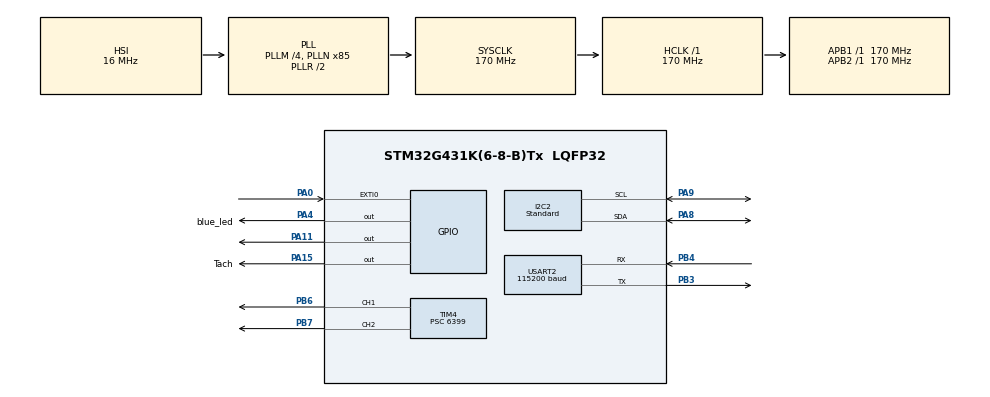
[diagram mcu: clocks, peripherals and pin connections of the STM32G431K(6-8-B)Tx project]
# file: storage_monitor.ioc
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ADC1.Channel-0\#ChannelRegularConversion=ADC_CHANNEL_TEMPSENSOR_ADC1
ADC1.Channel-IN=ADC_CHANNEL_VREFINT
ADC1.ClockPrescaler=ADC_CLOCK_SYNC_PCLK_DIV4
ADC1.ContinuousConvMode=DISABLE
ADC1.DMAContinuousRequests=DISABLE
ADC1.DataAlign=ADC_DATAALIGN_RIGHT
ADC1.DiscontinuousConvMode=DISABLE
ADC1.EOCSelection=ADC_EOC_SINGLE_CONV
ADC1.EnableAnalogWatchDog1=false
ADC1.EnableAnalogWatchDog2=false
ADC1.EnableAnalogWatchDog3=false
ADC1.EnableInjectedConversion=DISABLE
ADC1.EnableRegularConversion=ENABLE
ADC1.ExternalTrigConv=ADC_SOFTWARE_START
ADC1.ExternalTrigConvEdge=ADC_EXTERNALTRIGCONVEDGE_NONE
ADC1.GainCompensation=0
ADC1.LowPowerAutoWait=DISABLE
ADC1.Mode=ADC_MODE_INDEPENDENT
ADC1.NbrOfConversion=1
ADC1.OffsetNumber-0\#ChannelRegularConversion=ADC_OFFSET_NONE
ADC1.Overrun=ADC_OVR_DATA_PRESERVED
ADC1.OversamplingMode=DISABLE
ADC1.Rank-0\#ChannelRegularConversion=1
ADC1.Resolution=ADC_RESOLUTION_12B
ADC1.SamplingTime-0\#ChannelRegularConversion=ADC_SAMPLETIME_2CYCLES_5
ADC1.ScanConvMode=ADC_SCAN_DISABLE
ADC1.master=1
I2C2.AddressingMode=I2C_ADDRESSINGMODE_7BIT
I2C2.Analog_Filter=I2C_ANALOGFILTER_ENABLE
I2C2.CustomTiming=Disabled
I2C2.DualAddressMode=I2C_DUALADDRESS_DISABLE
I2C2.GeneralCallMode=I2C_GENERALCALL_DISABLE
I2C2.I2C_Coeff_DF=0
I2C2.I2C_Fall_Time=100
I2C2.I2C_Rise_Time=100
I2C2.I2C_Speed_Mode=I2C_Standard
I2C2.NoStretchMode=I2C_NOSTRETCH_DISABLE
I2C2.OwnAddress=0
I2C2.Speed=100
I2C2.Timing=0x40B285C2
Mcu.Family=STM32G4
Mcu.Name=STM32G431K(6-8-B)Tx
Mcu.Package=LQFP32
NUCLEO-G431KB.LD2=true
NUCLEO-G431KB.VCP=true
NVIC.EXTI0_IRQn=true\:0\:0\:false\:true\:true\:1\:true\:true\:true
NVIC.PriorityGroup=NVIC_PRIORITYGROUP_4
NVIC.TIM2_IRQn=true\:15\:0\:false\:false\:true\:false\:true\:true
NVIC.TIM4_IRQn=true\:0\:0\:false\:false\:true\:true\:true\:true
NVIC.TimeBase=TIM2_IRQn
NVIC.TimeBaseIP=TIM2
PA0.GPIO_ModeDefaultEXTI=GPIO_MODE_IT_FALLING
PA0.Signal=GPXTI0
PA11.PinState=GPIO_PIN_SET
PA11.Signal=GPIO_Output
PA13.Mode=Serial_Wire
PA13.Signal=SYS_JTMS-SWDIO
PA14.Mode=Serial_Wire
PA14.Signal=SYS_JTCK-SWCLK
PA15.GPIO_Label=Tach
PA15.Signal=GPIO_Output
PA2.Signal=LPUART1_TX
PA3.Signal=LPUART1_RX
PA4.GPIO_Label=blue_led
PA4.Signal=GPIO_Output
PA8.Mode=I2C
PA8.Signal=I2C2_SDA
PA9.Mode=I2C
PA9.Signal=I2C2_SCL
PB3.Mode=Asynchronous
PB3.Signal=USART2_TX
PB4.Mode=Asynchronous
PB4.Signal=USART2_RX
PB6.GPIO_PuPd=GPIO_NOPULL
PB6.Signal=S_TIM4_CH1
PB7.Signal=S_TIM4_CH2
PF0-OSC_IN.Mode=HSE-External-Oscillator
PF0-OSC_IN.Signal=RCC_OSC_IN
PF1-OSC_OUT.Mode=HSE-External-Oscillator
PF1-OSC_OUT.Signal=RCC_OSC_OUT
ProjectManager.HeapSize=0x200
ProjectManager.StackSize=0x400
ProjectManager.TargetToolchain=STM32CubeIDE
RCC.ADC12Freq_Value=170000000
RCC.AHBFreq_Value=170000000
RCC.APB1Freq_Value=170000000
RCC.APB1TimFreq_Value=170000000
RCC.APB2Freq_Value=170000000
RCC.APB2TimFreq_Value=170000000
RCC.CortexFreq_Value=170000000
RCC.EXTERNAL_CLOCK_VALUE=12288000
RCC.FLatency=FLASH_LATENCY_4
RCC.HCLKFreq_Value=170000000
RCC.HSE_VALUE=8000000
RCC.HSI48_VALUE=48000000
RCC.HSI_VALUE=16000000
RCC.LSE_VALUE=32768
RCC.PLLM=RCC_PLLM_DIV4
RCC.PLLN=85
RCC.SYSCLKFreq_VALUE=170000000
RCC.SYSCLKSource=RCC_SYSCLKSOURCE_PLLCLK
RCC.USBFreq_Value=170000000
RCC.VCOOutputFreq_Value=340000000
RTC.AsynchPrediv=127
RTC.HourFormat=RTC_HOURFORMAT_24
RTC.SynchPrediv=255
SH.S_TIM4_CH1.0=TIM4_CH1,PWM Generation1 CH1
SH.S_TIM4_CH2.0=TIM4_CH2,PWM Generation2 CH2
SYS.Mode=PWR_PVD_MODE_NORMAL
SYS.PVDLevel=PWR_PVDLEVEL_0
TIM15.AutoReloadPreload=TIM_AUTORELOAD_PRELOAD_DISABLE
TIM15.ClockDivision=TIM_CLOCKDIVISION_DIV1
TIM15.CounterMode=TIM_COUNTERMODE_UP
TIM15.Dithering=Disable
TIM15.PeriodNoDither=65535
TIM15.Prescaler=0
TIM15.RepetitionCounter=0
TIM15.TIM_MasterOutputTrigger=TIM_TRGO_RESET
TIM15.TIM_MasterSlaveMode=TIM_MASTERSLAVEMODE_DISABLE
TIM4.AutoReloadPreload=TIM_AUTORELOAD_PRELOAD_DISABLE
TIM4.Channel-PWM\ Generation1\ CH1=TIM_CHANNEL_1
TIM4.Channel-PWM\ Generation2\ CH2=TIM_CHANNEL_2
TIM4.ClearInputSource=TIM_CLEARINPUTSOURCE_NONE
TIM4.ClockDivision=TIM_CLOCKDIVISION_DIV1
TIM4.CounterMode=TIM_COUNTERMODE_UP
TIM4.Dithering=Disable
TIM4.OC1Preload_PWM=ENABLE
TIM4.OC2Preload_PWM=ENABLE
TIM4.OCFastMode_PWM-PWM\ Generation1\ CH1=TIM_OCFAST_ENABLE
TIM4.OCFastMode_PWM-PWM\ Generation2\ CH2=TIM_OCFAST_ENABLE
TIM4.OCMode_PWM-PWM\ Generation1\ CH1=TIM_OCMODE_PWM1
TIM4.OCMode_PWM-PWM\ Generation2\ CH2=TIM_OCMODE_PWM1
TIM4.OCPolarity_1=TIM_OCPOLARITY_HIGH
TIM4.OCPolarity_2=TIM_OCPOLARITY_LOW
TIM4.PeriodNoDither=99
TIM4.Prescaler=6399
TIM4.PulseNoDither_1=0
TIM4.PulseNoDither_2=0
TIM4.TIM_MasterOutputTrigger=TIM_TRGO_RESET
TIM4.TIM_MasterSlaveMode=TIM_MASTERSLAVEMODE_DISABLE
USART2.AutoBaudRateEnableParam=UART_ADVFEATURE_AUTOBAUDRATE_DISABLE
USART2.BaudRate=115200
USART2.ClockPrescaler=PRESCALER_DIV1
USART2.DMADisableonRxErrorParam=ADVFEATURE_DMA_ENABLEONRXERROR
USART2.DataInvertParam=ADVFEATURE_DATAINV_DISABLE
USART2.FIFOMode=FIFOMODE_DISABLE
USART2.MSBFirstParam=ADVFEATURE_MSBFIRST_DISABLE
USART2.Mode=MODE_TX_RX
USART2.OneBitSampling=UART_ONE_BIT_SAMPLE_DISABLE
USART2.OverSampling=UART_OVERSAMPLING_16
USART2.OverrunDisableParam=ADVFEATURE_OVERRUN_ENABLE
USART2.Parity=PARITY_NONE
USART2.RXFIFOThreshold=RXFIFO_THRESHOLD_1EIGHTHFULL
USART2.RxPinLevelInvertParam=ADVFEATURE_RXINV_DISABLE
USART2.StopBits=STOPBITS_1
USART2.SwapParam=ADVFEATURE_SWAP_DISABLE
USART2.TXFIFOThreshold=TXFIFO_THRESHOLD_1EIGHTHFULL
USART2.TxPinLevelInvertParam=ADVFEATURE_TXINV_DISABLE
USART2.VirtualMode-Asynchronous=VM_ASYNC
USART2.WordLength=WORDLENGTH_8B
VP_ADC1_TempSens_Input.Mode=IN-TempSens
VP_ADC1_Vref_Input.Mode=IN-Vrefint
VP_NUCLEO-G431KB_VS_BSP_COMMON.Mode=COMMON
VP_RTC_VS_RTC_Activate.Mode=RTC_Enabled
VP_SYS_VS_DBSignals.Mode=DisableDeadBatterySignals
VP_SYS_VS_tim2.Mode=TIM2
VP_SYS_V_PVD_IN.Mode=Mode_PVD_Int
VP_TIM15_VS_ClockSourceINT.Mode=Internal
VP_TIM4_VS_ClockSourceINT.Mode=Internal
board=NUCLEO-G431KB

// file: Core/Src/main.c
/* USER CODE BEGIN Header */
/**
  ******************************************************************************
  * @file           : main.c
  * @brief          : Main program body
  ******************************************************************************
  * @attention
  *
  * Copyright (c) 2026 STMicroelectronics.
  * All rights reserved.
  *
  * This software is licensed under terms that can be found in the LICENSE file
  * in the root directory of this software component.
  * If no LICENSE file comes with this software, it is provided AS-IS.
  *
  ******************************************************************************
  */
/* USER CODE END Header */
#include "main.h"

COM_InitTypeDef BspCOMInit;

ADC_HandleTypeDef hadc1;

I2C_HandleTypeDef hi2c2;

RTC_HandleTypeDef hrtc;

TIM_HandleTypeDef htim4;
TIM_HandleTypeDef htim15;

UART_HandleTypeDef huart2;

/* USER CODE BEGIN PV */

float temp, humidity;
int pwm_val = 0;
char pico_tx_buf[64];

int16_t X_RAW, Y_RAW, Z_RAW, TEMP_RAW;
uint8_t check, data[2], accel_data[6], temp_data[2];

float Ax, Ay, Az, temperature;

char tx[100];

/* USER CODE END PV */

void SystemClock_Config(void);
static void MX_GPIO_Init(void);
static void MX_ADC1_Init(void);
static void MX_RTC_Init(void);
static void MX_TIM15_Init(void);
static void MX_TIM4_Init(void);
static void MX_USART2_UART_Init(void);
static void MX_I2C2_Init(void);
static void MX_NVIC_Init(void);

int main(void)
{

  /* MCU Configuration--------------------------------------------------------*/

  /* Reset of all peripherals, Initializes the Flash interface and the Systick. */
  HAL_Init();

  /* Configure the system clock */
  SystemClock_Config();

  /* Initialize all configured peripherals */
  MX_GPIO_Init();
  MX_ADC1_Init();
  MX_RTC_Init();
  MX_TIM15_Init();
  MX_TIM4_Init();
  MX_USART2_UART_Init();
  MX_I2C2_Init();

  /* Initialize interrupts */
  MX_NVIC_Init();
  /* USER CODE BEGIN 2 */
  TIM4->CCR1 = 50;

  HAL_TIM_PWM_Start(&htim4, TIM_CHANNEL_1);
  HAL_TIM_PWM_Start(&htim4, TIM_CHANNEL_2);

  /* USER CODE END 2 */

  /* Initialize leds */
  BSP_LED_Init(LED_GREEN);

  /* Initialize COM1 port (115200, 8 bits (7-bit data + 1 stop bit), no parity */
  BspCOMInit.BaudRate   = 115200;
  BspCOMInit.WordLength = COM_WORDLENGTH_8B;
  BspCOMInit.StopBits   = COM_STOPBITS_1;
  BspCOMInit.Parity     = COM_PARITY_NONE;
  BspCOMInit.HwFlowCtl  = COM_HWCONTROL_NONE;
  if (BSP_COM_Init(COM1, &BspCOMInit) != BSP_ERROR_NONE)
  {
    Error_Handler();
  }

  /* Infinite loop */
  /* USER CODE BEGIN WHILE */
	AHT20_Init();
	LIS3DH_init(0x0F); // //WHO_AM_I (0Fh)

	//Display Initialisation
	//HAL_Delay(100);
	//OLED_Init(Display);
	//HAL_Delay(10);
	//OLED_CLS(Display);
	HAL_Delay(10);
	OLED_P8x16Str(Display, 0, 4, "MaKE sOme FuN!;)");
	//HAL_Delay(2000);
	OLED_CLS(Display);
	HAL_Delay(10);

	uint8_t int1_status = 0;
	uint8_t alarm_triggered = 0;

  while (1)
  {

/* -- Sample board code to toggle leds ---- */
//       BSP_LED_Toggle(LED_GREEN);

    /* USER CODE END WHILE */

    /* USER CODE BEGIN 3 */
	  LIS3DH_read_accel(OUT_X_L);		//X-axis acceleration data output

	  X_RAW = (accel_data[1]<<8|accel_data[0]);
	  		Y_RAW = (accel_data[3]<<8|accel_data[2]);
	  		Z_RAW = (accel_data[5]<<8|accel_data[4]);

	  		// Convert into 'mg'
	  		Ax = ( (float)X_RAW / 64.0f ) *  4.0f;
	  		Ay = ( (float)Y_RAW / 64.0f ) *  4.0f;
	  		Az = ( (float)Z_RAW / 64.0f ) *  4.0f;

       AHT20_Measure();
       if (temp >=25.50){
    	   	   OLED_Show_fan(&hi2c2, 0x78);
           HAL_GPIO_WritePin(GPIOA, GPIO_PIN_4, LOW);
    	   	   printf("The fan is turned on. Speed: %d\n\r", pwm_val);
    	   	   __HAL_TIM_SET_COMPARE(&htim4, TIM_CHANNEL_2, pwm_val);
    	   	   pwm_val+=2;

           if (pwm_val>99){

        	  if (temp >=25.50){
        		  pwm_val = 99;
        		  __HAL_TIM_SET_COMPARE(&htim4, TIM_CHANNEL_2, 99);
        	  } else {
        		  pwm_val = 10;
        		  __HAL_TIM_SET_COMPARE(&htim4, TIM_CHANNEL_2, 0);
        	  }
           }
           htim4.Instance->CCR1 = pwm_val;

       } else {

    	   // --- IDLE STATE ---
    	   OLED_Clear_fan(&hi2c2, 0x78);

    	   htim4.Instance->CCR1 = 0;
    	   __HAL_TIM_SET_COMPARE(&htim4, TIM_CHANNEL_2, 0);
    	   pwm_val = 0;

    	  // Turn ON the Cool LED (PA4) to show everything is fine
    	   HAL_GPIO_TogglePin(GPIOA, GPIO_PIN_4);

       }

       printf("\n\r");
       printf("Temperature is: %.2f C\n\r", temp);
       printf("Humidity is: %.2f%% \n\r", humidity);
       printf("X = %.2f, Y = %.2f, Z = %.2f\r\n", Ax, Ay, Az);

       uint8_t reg_addr = 0x31;
       HAL_I2C_Master_Transmit(&hi2c2, LIS3DH_ADDR, &reg_addr, 1, 1000);
       HAL_I2C_Master_Receive(&hi2c2, LIS3DH_ADDR, &int1_status, 1, 1000);

      // Bit 6 (0x40) of INT1_SRC goes HIGH if any configured threshold event happened
      if (int1_status & 0x40)
      {
    	  alarm_triggered = 1;
    	  printf("ALARM TRIGGERED !!! Threshold exceeded!\r\n");
      }
      else {
    	  alarm_triggered = 0;
      }

       uint16_t pico_msg = sprintf(pico_tx_buf, "Temp:%.2f C Hum:%.2f%% Fan speed:%d\n", temp, humidity, pwm_val);
       HAL_UART_Transmit(&huart2, (uint8_t*)pico_tx_buf, pico_msg, HAL_MAX_DELAY);

       uint8_t line = 0;
       int speed = pwm_val;

//       OLED_CLS(Display);
       OLED_P8x16Str(Display, 0, 0, "Sensor values:");

	   if (temp >=25.50){
		   OLED_P8x16Str(Display, 0, (line+1) * 2, "Temp:");
		   OLED_PrintValueUC_8x16(Display, 37, (line+1) * 2, temp);
		   line++;
		   OLED_P8x16Str(Display, 0, (line+1) * 2, "Hum:");
		   OLED_PrintValueUC_8x16(Display, 37, (line+1) * 2, humidity);
		   line++;
		   OLED_P8x16Str(Display, 0, (line+1) * 2, "Fan:");
		   OLED_PrintValueUC_8x16(Display, 37, (line+1) * 2, speed);
		   line++;
	   } else{
		   OLED_P8x16Str(Display, 0, (line+1) * 2, "Temp:");
		   OLED_PrintValueUC_8x16(Display, 37, (line+1) * 2, temp);
		   line++;
		   OLED_P8x16Str(Display, 0, (line+1) * 2, "Hum:");
		   OLED_PrintValueUC_8x16(Display, 37, (line+1) * 2, humidity);
		   line++;
		   OLED_P8x16Str(Display, 0, (line+1) * 2, "           ");

	   }

		 if (alarm_triggered)
		     {
		         // Highlight an active warning at the bottom of the screen
			 	 OLED_P6x8Str(Display, 0, (line + 1) * 2, "HIT DETECTED !!");
			 	 HAL_Delay(1000);
		    	 OLED_P6x8Str(Display, 0, (line + 1) * 2, "                ");

		     }

       HAL_Delay(1000);

  }
  /* USER CODE END 3 */
}

void SystemClock_Config(void)
{
  RCC_OscInitTypeDef RCC_OscInitStruct = {0};
  RCC_ClkInitTypeDef RCC_ClkInitStruct = {0};

  /** Configure the main internal regulator output voltage
  */
  HAL_PWREx_ControlVoltageScaling(PWR_REGULATOR_VOLTAGE_SCALE1_BOOST);

  /** Initializes the RCC Oscillators according to the specified parameters
  * in the RCC_OscInitTypeDef structure.
  */
  RCC_OscInitStruct.OscillatorType = RCC_OSCILLATORTYPE_HSI|RCC_OSCILLATORTYPE_LSI;
  RCC_OscInitStruct.HSIState = RCC_HSI_ON;
  RCC_OscInitStruct.HSICalibrationValue = RCC_HSICALIBRATION_DEFAULT;
  RCC_OscInitStruct.LSIState = RCC_LSI_ON;
  RCC_OscInitStruct.PLL.PLLState = RCC_PLL_ON;
  RCC_OscInitStruct.PLL.PLLSource = RCC_PLLSOURCE_HSI;
  RCC_OscInitStruct.PLL.PLLM = RCC_PLLM_DIV4;
  RCC_OscInitStruct.PLL.PLLN = 85;
  RCC_OscInitStruct.PLL.PLLP = RCC_PLLP_DIV2;
  RCC_OscInitStruct.PLL.PLLQ = RCC_PLLQ_DIV2;
  RCC_OscInitStruct.PLL.PLLR = RCC_PLLR_DIV2;
  if (HAL_RCC_OscConfig(&RCC_OscInitStruct) != HAL_OK)
  {
    Error_Handler();
  }

  /** Initializes the CPU, AHB and APB buses clocks
  */
  RCC_ClkInitStruct.ClockType = RCC_CLOCKTYPE_HCLK|RCC_CLOCKTYPE_SYSCLK
                              |RCC_CLOCKTYPE_PCLK1|RCC_CLOCKTYPE_PCLK2;
  RCC_ClkInitStruct.SYSCLKSource = RCC_SYSCLKSOURCE_PLLCLK;
  RCC_ClkInitStruct.AHBCLKDivider = RCC_SYSCLK_DIV1;
  RCC_ClkInitStruct.APB1CLKDivider = RCC_HCLK_DIV1;
  RCC_ClkInitStruct.APB2CLKDivider = RCC_HCLK_DIV1;

  if (HAL_RCC_ClockConfig(&RCC_ClkInitStruct, FLASH_LATENCY_4) != HAL_OK)
  {
    Error_Handler();
  }
}

/**
  * @brief NVIC Configuration.
  * @retval None
  */
static void MX_NVIC_Init(void)
{
  /* EXTI0_IRQn interrupt configuration */
  HAL_NVIC_SetPriority(EXTI0_IRQn, 0, 0);
  HAL_NVIC_EnableIRQ(EXTI0_IRQn);
}

static void MX_ADC1_Init(void)
{

  ADC_MultiModeTypeDef multimode = {0};
  ADC_ChannelConfTypeDef sConfig = {0};

  /** Common config
  */
  hadc1.Instance = ADC1;
  hadc1.Init.ClockPrescaler = ADC_CLOCK_SYNC_PCLK_DIV4;
  hadc1.Init.Resolution = ADC_RESOLUTION_12B;
  hadc1.Init.DataAlign = ADC_DATAALIGN_RIGHT;
  hadc1.Init.GainCompensation = 0;
  hadc1.Init.ScanConvMode = ADC_SCAN_DISABLE;
  hadc1.Init.EOCSelection = ADC_EOC_SINGLE_CONV;
  hadc1.Init.LowPowerAutoWait = DISABLE;
  hadc1.Init.ContinuousConvMode = DISABLE;
  hadc1.Init.NbrOfConversion = 1;
  hadc1.Init.DiscontinuousConvMode = DISABLE;
  hadc1.Init.ExternalTrigConv = ADC_SOFTWARE_START;
  hadc1.Init.ExternalTrigConvEdge = ADC_EXTERNALTRIGCONVEDGE_NONE;
  hadc1.Init.DMAContinuousRequests = DISABLE;
  hadc1.Init.Overrun = ADC_OVR_DATA_PRESERVED;
  hadc1.Init.OversamplingMode = DISABLE;
  if (HAL_ADC_Init(&hadc1) != HAL_OK)
  {
    Error_Handler();
  }

  /** Configure the ADC multi-mode
  */
  multimode.Mode = ADC_MODE_INDEPENDENT;
  if (HAL_ADCEx_MultiModeConfigChannel(&hadc1, &multimode) != HAL_OK)
  {
    Error_Handler();
  }

  /** Configure Regular Channel
  */
  sConfig.Channel = ADC_CHANNEL_TEMPSENSOR_ADC1;
  sConfig.Rank = ADC_REGULAR_RANK_1;
  sConfig.SamplingTime = ADC_SAMPLETIME_2CYCLES_5;
  sConfig.SingleDiff = ADC_SINGLE_ENDED;
  sConfig.OffsetNumber = ADC_OFFSET_NONE;
  sConfig.Offset = 0;
  if (HAL_ADC_ConfigChannel(&hadc1, &sConfig) != HAL_OK)
  {
    Error_Handler();
  }

}

static void MX_I2C2_Init(void)
{

  hi2c2.Instance = I2C2;
  hi2c2.Init.Timing = 0x40B285C2;
  hi2c2.Init.OwnAddress1 = 0;
  hi2c2.Init.AddressingMode = I2C_ADDRESSINGMODE_7BIT;
  hi2c2.Init.DualAddressMode = I2C_DUALADDRESS_DISABLE;
  hi2c2.Init.OwnAddress2 = 0;
  hi2c2.Init.OwnAddress2Masks = I2C_OA2_NOMASK;
  hi2c2.Init.GeneralCallMode = I2C_GENERALCALL_DISABLE;
  hi2c2.Init.NoStretchMode = I2C_NOSTRETCH_DISABLE;
  if (HAL_I2C_Init(&hi2c2) != HAL_OK)
  {
    Error_Handler();
  }

  /** Configure Analogue filter
  */
  if (HAL_I2CEx_ConfigAnalogFilter(&hi2c2, I2C_ANALOGFILTER_ENABLE) != HAL_OK)
  {
    Error_Handler();
  }

  /** Configure Digital filter
  */
  if (HAL_I2CEx_ConfigDigitalFilter(&hi2c2, 0) != HAL_OK)
  {
    Error_Handler();
  }

}

static void MX_RTC_Init(void)
{

  /** Initialize RTC Only
  */
  hrtc.Instance = RTC;
  hrtc.Init.HourFormat = RTC_HOURFORMAT_24;
  hrtc.Init.AsynchPrediv = 127;
  hrtc.Init.SynchPrediv = 255;
  hrtc.Init.OutPut = RTC_OUTPUT_DISABLE;
  hrtc.Init.OutPutRemap = RTC_OUTPUT_REMAP_NONE;
  hrtc.Init.OutPutPolarity = RTC_OUTPUT_POLARITY_HIGH;
  hrtc.Init.OutPutType = RTC_OUTPUT_TYPE_OPENDRAIN;
  hrtc.Init.OutPutPullUp = RTC_OUTPUT_PULLUP_NONE;
  if (HAL_RTC_Init(&hrtc) != HAL_OK)
  {
    Error_Handler();
  }

}

static void MX_TIM4_Init(void)
{

  TIM_ClockConfigTypeDef sClockSourceConfig = {0};
  TIM_MasterConfigTypeDef sMasterConfig = {0};
  TIM_OC_InitTypeDef sConfigOC = {0};

  htim4.Instance = TIM4;
  htim4.Init.Prescaler = 6399;
  htim4.Init.CounterMode = TIM_COUNTERMODE_UP;
  htim4.Init.Period = 99;
  htim4.Init.ClockDivision = TIM_CLOCKDIVISION_DIV1;
  htim4.Init.AutoReloadPreload = TIM_AUTORELOAD_PRELOAD_DISABLE;
  if (HAL_TIM_Base_Init(&htim4) != HAL_OK)
  {
    Error_Handler();
  }
  sClockSourceConfig.ClockSource = TIM_CLOCKSOURCE_INTERNAL;
  if (HAL_TIM_ConfigClockSource(&htim4, &sClockSourceConfig) != HAL_OK)
  {
    Error_Handler();
  }
  if (HAL_TIM_PWM_Init(&htim4) != HAL_OK)
  {
    Error_Handler();
  }
  sMasterConfig.MasterOutputTrigger = TIM_TRGO_RESET;
  sMasterConfig.MasterSlaveMode = TIM_MASTERSLAVEMODE_DISABLE;
  if (HAL_TIMEx_MasterConfigSynchronization(&htim4, &sMasterConfig) != HAL_OK)
  {
    Error_Handler();
  }
  sConfigOC.OCMode = TIM_OCMODE_PWM1;
  sConfigOC.Pulse = 0;
  sConfigOC.OCPolarity = TIM_OCPOLARITY_HIGH;
  sConfigOC.OCFastMode = TIM_OCFAST_ENABLE;
  if (HAL_TIM_PWM_ConfigChannel(&htim4, &sConfigOC, TIM_CHANNEL_1) != HAL_OK)
  {
    Error_Handler();
  }
  sConfigOC.OCPolarity = TIM_OCPOLARITY_LOW;
  if (HAL_TIM_PWM_ConfigChannel(&htim4, &sConfigOC, TIM_CHANNEL_2) != HAL_OK)
  {
    Error_Handler();
  }
  HAL_TIM_MspPostInit(&htim4);

}

static void MX_TIM15_Init(void)
{

  TIM_ClockConfigTypeDef sClockSourceConfig = {0};
  TIM_MasterConfigTypeDef sMasterConfig = {0};

  htim15.Instance = TIM15;
  htim15.Init.Prescaler = 0;
  htim15.Init.CounterMode = TIM_COUNTERMODE_UP;
  htim15.Init.Period = 65535;
  htim15.Init.ClockDivision = TIM_CLOCKDIVISION_DIV1;
  htim15.Init.RepetitionCounter = 0;
  htim15.Init.AutoReloadPreload = TIM_AUTORELOAD_PRELOAD_DISABLE;
  if (HAL_TIM_Base_Init(&htim15) != HAL_OK)
  {
    Error_Handler();
  }
  sClockSourceConfig.ClockSource = TIM_CLOCKSOURCE_INTERNAL;
  if (HAL_TIM_ConfigClockSource(&htim15, &sClockSourceConfig) != HAL_OK)
  {
    Error_Handler();
  }
  sMasterConfig.MasterOutputTrigger = TIM_TRGO_RESET;
  sMasterConfig.MasterSlaveMode = TIM_MASTERSLAVEMODE_DISABLE;
  if (HAL_TIMEx_MasterConfigSynchronization(&htim15, &sMasterConfig) != HAL_OK)
  {
    Error_Handler();
  }

}

static void MX_USART2_UART_Init(void)
{

  huart2.Instance = USART2;
  huart2.Init.BaudRate = 115200;
  huart2.Init.WordLength = UART_WORDLENGTH_8B;
  huart2.Init.StopBits = UART_STOPBITS_1;
  huart2.Init.Parity = UART_PARITY_NONE;
  huart2.Init.Mode = UART_MODE_TX_RX;
  huart2.Init.HwFlowCtl = UART_HWCONTROL_NONE;
  huart2.Init.OverSampling = UART_OVERSAMPLING_16;
  huart2.Init.OneBitSampling = UART_ONE_BIT_SAMPLE_DISABLE;
  huart2.Init.ClockPrescaler = UART_PRESCALER_DIV1;
  huart2.AdvancedInit.AdvFeatureInit = UART_ADVFEATURE_NO_INIT;
  if (HAL_UART_Init(&huart2) != HAL_OK)
  {
    Error_Handler();
  }
  if (HAL_UARTEx_SetTxFifoThreshold(&huart2, UART_TXFIFO_THRESHOLD_1_8) != HAL_OK)
  {
    Error_Handler();
  }
  if (HAL_UARTEx_SetRxFifoThreshold(&huart2, UART_RXFIFO_THRESHOLD_1_8) != HAL_OK)
  {
    Error_Handler();
  }
  if (HAL_UARTEx_DisableFifoMode(&huart2) != HAL_OK)
  {
    Error_Handler();
  }

}

static void MX_GPIO_Init(void)
{
  GPIO_InitTypeDef GPIO_InitStruct = {0};

  /* GPIO Ports Clock Enable */
  __HAL_RCC_GPIOF_CLK_ENABLE();
  __HAL_RCC_GPIOA_CLK_ENABLE();
  __HAL_RCC_GPIOB_CLK_ENABLE();

  /*Configure GPIO pin Output Level */
  HAL_GPIO_WritePin(GPIOA, blue_led_Pin|Tach_Pin, GPIO_PIN_RESET);

  /*Configure GPIO pin Output Level */
  HAL_GPIO_WritePin(GPIOA, GPIO_PIN_11, GPIO_PIN_SET);

  /*Configure GPIO pin : PA0 */
  GPIO_InitStruct.Pin = GPIO_PIN_0;
  GPIO_InitStruct.Mode = GPIO_MODE_IT_FALLING;
  GPIO_InitStruct.Pull = GPIO_NOPULL;
  HAL_GPIO_Init(GPIOA, &GPIO_InitStruct);

  /*Configure GPIO pins : PA2 PA3 */
  GPIO_InitStruct.Pin = GPIO_PIN_2|GPIO_PIN_3;
  GPIO_InitStruct.Mode = GPIO_MODE_AF_PP;
  GPIO_InitStruct.Pull = GPIO_NOPULL;
  GPIO_InitStruct.Speed = GPIO_SPEED_FREQ_LOW;
  GPIO_InitStruct.Alternate = GPIO_AF12_LPUART1;
  HAL_GPIO_Init(GPIOA, &GPIO_InitStruct);

  /*Configure GPIO pins : blue_led_Pin PA11 Tach_Pin */
  GPIO_InitStruct.Pin = blue_led_Pin|GPIO_PIN_11|Tach_Pin;
  GPIO_InitStruct.Mode = GPIO_MODE_OUTPUT_PP;
  GPIO_InitStruct.Pull = GPIO_NOPULL;
  GPIO_InitStruct.Speed = GPIO_SPEED_FREQ_LOW;
  HAL_GPIO_Init(GPIOA, &GPIO_InitStruct);

}

/* USER CODE BEGIN 4 */

void AHT20_Init(void){
//	Wait 40ms after power-on
	HAL_Delay(40);
	uint8_t status;
//	 first check whether the calibration enable bit Bit [3] of the status word is 1
//	(you can get a byte of status word by sending 0x71)
	HAL_I2C_Mem_Read(&hi2c2, AHT20_ADDR, 0x71, 1, &status, 1, DELAY_MAX);
//	check if Bit [3] of the status is 0 --> calibration is done
	if ((status >>3 & 0x01) == 0){
//		 If not 1, need to send 0xBE command (for initialization),
//		this command parameter has two bytes, the first byte is 0x08, the second byte is 0x00
		uint8_t init_cmd[3] = {0xBE, 0x08, 0x00};
//		transmit these commands to the slave
		HAL_I2C_Master_Transmit(&hi2c2, AHT20_ADDR, init_cmd, 3, DELAY_MAX);
		HAL_Delay(10);
	}
}

void AHT20_Measure (void){
//	Send the 0xAC command directly (trigger measurement).
//	The parameter of this command has two bytes, the first byte
//	is 0x33 and the second byte is 0x00.
	uint8_t measure_cmd[3] = {0xAC, 0x33, 0x00};
	HAL_I2C_Master_Transmit(&hi2c2, AHT20_ADDR, measure_cmd, 3, DELAY_MAX);
//	 Wait for 80ms to wait for the measurement to be completed.
	HAL_Delay(80);

//	If the read status word Bit [7] is 0, it indicates that the
//	measurement is completed, and then six bytes can be read
//	in a row; otherwise, continue to wait.

	uint8_t status;
	do {
		HAL_I2C_Mem_Read(&hi2c2, AHT20_ADDR, 0x71, 1, &status, 1, DELAY_MAX);
		HAL_Delay(80);
	}
	while((status >>7 & 0x01) == 1);

//	 the next byte is the CRC check data
	uint8_t RxData[7];
	HAL_I2C_Master_Receive(&hi2c2, AHT20_ADDR, RxData, 7, DELAY_MAX);

//	20 bytes for each humidity and temp data
	uint32_t HUM_DATA = (RxData[1] <<16) |(RxData[2] <<8) | RxData[3]; // 24 bits, include 4 bit temp data
	HUM_DATA = HUM_DATA>>4; // remove 4 bits temp data --> 20 bits humidty data

	humidity = (float) (HUM_DATA/pow(2,20)) * 100;

	uint32_t TEMP_DATA = (RxData[3] <<16) |(RxData[4] <<8) | RxData[5]; // 24 bits, include 4 bit humidity data
	TEMP_DATA = TEMP_DATA&0xFFFFF; // remove 4 bits humidity data --> 20 bits temp data

	temp = (float) (((TEMP_DATA/pow(2,20)) * 200) - 50);

}

/* USER CODE END 4 */

void HAL_TIM_PeriodElapsedCallback(TIM_HandleTypeDef *htim)
{
  if (htim->Instance == TIM2)
  {
    HAL_IncTick();
  }
}
/* USER CODE BEGIN Header */
/**
  ******************************************************************************
  * @file           : main.c
  * @brief          : Main program body
  ******************************************************************************
  * @attention
  *
  * Copyright (c) 2026 STMicroelectronics.
  * All rights reserved.
  *
  * This software is licensed under terms that can be found in the LICENSE file
  * in the root directory of this software component.
  * If no LICENSE file comes with this software, it is provided AS-IS.
  *
  ******************************************************************************
  */
/* USER CODE END Header */

void Error_Handler(void)
{
  __disable_irq();
  while (1)
  {
  }
}
